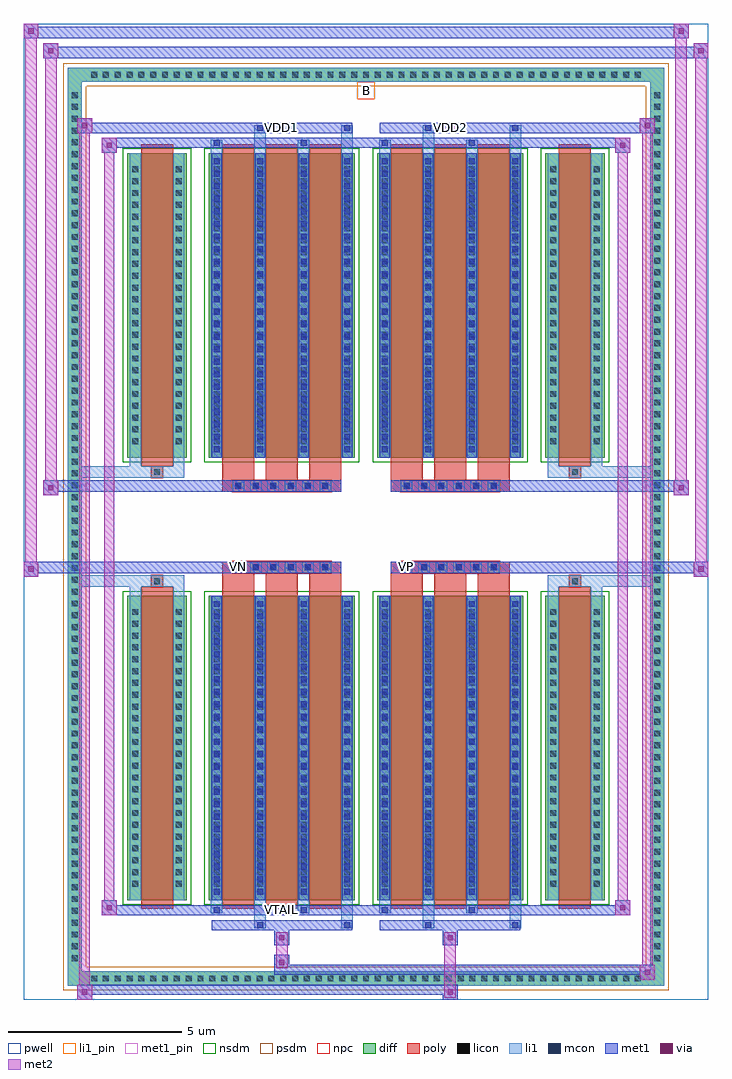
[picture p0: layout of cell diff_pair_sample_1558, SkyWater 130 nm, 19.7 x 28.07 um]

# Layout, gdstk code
import gdstk
lib = gdstk.Library(unit=1e-6, precision=5e-09)
def R(c, l, rs):  # rectangles x0, y0, x1, y1
    for r in rs: c.add(gdstk.rectangle(r[:2], r[2:], *l))
def A(c, l, x, y, w, h, nx, ny, dx, dy):  # array of equal rectangles
    R(c, l, [(x+i*dx, y+j*dy, x+i*dx+w, y+j*dy+h) for i in range(nx) for j in range(ny)])
def P(c, l, *ps):  # polygons
    for p in ps: c.add(gdstk.Polygon(p, *l))
pwell = (64, 44)
diff = (65, 20)
poly = (66, 20)
licon = (66, 44)
li1_pin = (67, 16)
li1 = (67, 20)
mcon = (67, 44)
met1_pin = (68, 16)
met1 = (68, 20)
via = (68, 44)
met2 = (69, 20)
nsdm = (93, 44)
psdm = (94, 20)
npc = (95, 20)

diff_pair_sample_1558 = lib.new_cell('diff_pair_sample_1558')
R(diff_pair_sample_1558, pwell, [(-9.85,-13.6,9.85,14.47), (-7.17,-11.79,-0.01,-0.805), (0.01,-11.79,7.17,-0.805), (-7.17,0.805,-0.01,11.79), (0.01,0.805,7.17,11.79)])
A(diff_pair_sample_1558, diff, -8.025, -13.2, 0.41, 0.41, 47, 2, 0.34, 25.99)
A(diff_pair_sample_1558, diff, -8.58, -12.615, 0.41, 0.41, 1, 74, 0, 0.34)
A(diff_pair_sample_1558, diff, 8.17, -12.615, 0.41, 0.41, 1, 74, 0, 0.34)
R(diff_pair_sample_1558, diff, [(-8.025,-13.2,8.025,-12.79), (-8.58,-12.615,-8.17,12.615), (8.17,-12.615,8.58,12.615), (-6.86,-10.745,-5.16,-1.985), (-4.52,-10.745,-0.32,-1.985), (0.32,-10.745,4.52,-1.985), (5.16,-10.745,6.86,-1.985), (-6.86,1.985,-5.16,10.745), (-4.52,1.985,-0.32,10.745), (0.32,1.985,4.52,10.745), (5.16,1.985,6.86,10.745), (-8.025,12.79,8.025,13.2)])
P(diff_pair_sample_1558, diff, [(8.58,13.2),(-8.58,13.2),(-8.58,-12.79),(-8.17,-12.79),(-8.17,12.79),(8.17,12.79),(8.17,-12.79),(-8.17,-12.79),(-8.58,-12.79),(-8.58,-13.2),(8.58,-13.2)])
A(diff_pair_sample_1558, poly, -4.13, -10.995, 0.92, 9.26, 3, 2, 1.25, 12.73)
A(diff_pair_sample_1558, poly, 0.71, -10.995, 0.92, 9.26, 3, 2, 1.25, 12.73)
A(diff_pair_sample_1558, poly, -4.13, -1.735, 0.92, 0.4, 3, 2, 1.25, 3.07)
A(diff_pair_sample_1558, poly, 0.71, -1.735, 0.92, 0.4, 3, 2, 1.25, 3.07)
A(diff_pair_sample_1558, poly, -3.835, -1.335, 0.33, 0.33, 6, 2, 0.5, 2.34)
A(diff_pair_sample_1558, poly, 1.005, -1.335, 0.33, 0.33, 6, 2, 0.5, 2.34)
R(diff_pair_sample_1558, poly, [(-6.47,-10.995,-5.55,-1.735), (5.55,-10.995,6.47,-1.735), (-6.175,-1.735,-5.845,-1.405), (-6.175,-1.735,-5.845,-1.405), (5.845,-1.735,6.175,-1.405), (5.845,-1.735,6.175,-1.405), (-4.13,-1.335,-0.71,-1.005), (0.71,-1.335,4.13,-1.005), (-4.13,1.005,-0.71,1.335), (0.71,1.005,4.13,1.335), (-6.175,1.405,-5.845,1.735), (-6.175,1.405,-5.845,1.735), (5.845,1.405,6.175,1.735), (5.845,1.405,6.175,1.735), (-6.47,1.735,-5.55,10.995), (5.55,1.735,6.47,10.995)])
A(diff_pair_sample_1558, licon, -7.905, -13.08, 0.17, 0.17, 47, 2, 0.34, 25.99)
A(diff_pair_sample_1558, licon, -8.46, -12.495, 0.17, 0.17, 1, 74, 0, 0.34)
A(diff_pair_sample_1558, licon, 8.29, -12.495, 0.17, 0.17, 1, 74, 0, 0.34)
A(diff_pair_sample_1558, licon, -6.72, -10.36, 0.17, 0.17, 1, 24, 0, 0.34)
A(diff_pair_sample_1558, licon, -5.47, -10.36, 0.17, 0.17, 1, 24, 0, 0.34)
A(diff_pair_sample_1558, licon, -4.38, -10.36, 0.17, 0.17, 4, 24, 1.25, 0.34)
A(diff_pair_sample_1558, licon, 0.46, -10.36, 0.17, 0.17, 4, 24, 1.25, 0.34)
A(diff_pair_sample_1558, licon, 5.3, -10.36, 0.17, 0.17, 1, 24, 0, 0.34)
A(diff_pair_sample_1558, licon, 6.55, -10.36, 0.17, 0.17, 1, 24, 0, 0.34)
A(diff_pair_sample_1558, licon, -3.755, -1.255, 0.17, 0.17, 6, 2, 0.5, 2.34)
A(diff_pair_sample_1558, licon, 1.085, -1.255, 0.17, 0.17, 6, 2, 0.5, 2.34)
A(diff_pair_sample_1558, licon, -6.72, 2.37, 0.17, 0.17, 1, 24, 0, 0.34)
A(diff_pair_sample_1558, licon, -5.47, 2.37, 0.17, 0.17, 1, 24, 0, 0.34)
A(diff_pair_sample_1558, licon, -4.38, 2.37, 0.17, 0.17, 4, 24, 1.25, 0.34)
A(diff_pair_sample_1558, licon, 0.46, 2.37, 0.17, 0.17, 4, 24, 1.25, 0.34)
A(diff_pair_sample_1558, licon, 5.3, 2.37, 0.17, 0.17, 1, 24, 0, 0.34)
A(diff_pair_sample_1558, licon, 6.55, 2.37, 0.17, 0.17, 1, 24, 0, 0.34)
R(diff_pair_sample_1558, licon, [(-6.095,-1.655,-5.925,-1.485), (5.925,-1.655,6.095,-1.485), (-6.095,1.485,-5.925,1.655), (5.925,1.485,6.095,1.655)])
R(diff_pair_sample_1558, li1_pin, [(-0.25,12.29,0.25,12.79)])
A(diff_pair_sample_1558, li1, -7.985, -13.16, 0.33, 0.33, 47, 2, 0.34, 25.99)
A(diff_pair_sample_1558, li1, -8.54, -12.575, 0.33, 0.33, 1, 74, 0, 0.34)
A(diff_pair_sample_1558, li1, 8.21, -12.575, 0.33, 0.33, 1, 74, 0, 0.34)
A(diff_pair_sample_1558, li1, -4.46, -10.745, 0.33, 8.76, 4, 2, 1.25, 12.73)
A(diff_pair_sample_1558, li1, 0.38, -10.745, 0.33, 8.76, 4, 2, 1.25, 12.73)
A(diff_pair_sample_1558, li1, -4.38, -10.59, 0.17, 0.17, 4, 24, 1.25, 0.36)
A(diff_pair_sample_1558, li1, -4.38, -10.59, 0.17, 8.45, 4, 2, 1.25, 12.73)
A(diff_pair_sample_1558, li1, 0.46, -10.59, 0.17, 0.17, 4, 24, 1.25, 0.36)
A(diff_pair_sample_1558, li1, 0.46, -10.59, 0.17, 8.45, 4, 2, 1.25, 12.73)
A(diff_pair_sample_1558, li1, -6.8, -10.44, 0.33, 0.33, 1, 24, 0, 0.34)
A(diff_pair_sample_1558, li1, -5.55, -10.44, 0.33, 0.33, 1, 24, 0, 0.34)
A(diff_pair_sample_1558, li1, -4.46, -10.44, 0.33, 0.33, 4, 24, 1.25, 0.34)
A(diff_pair_sample_1558, li1, 0.38, -10.44, 0.33, 0.33, 4, 24, 1.25, 0.34)
A(diff_pair_sample_1558, li1, 5.22, -10.44, 0.33, 0.33, 1, 24, 0, 0.34)
A(diff_pair_sample_1558, li1, 6.47, -10.44, 0.33, 0.33, 1, 24, 0, 0.34)
A(diff_pair_sample_1558, li1, -3.835, -1.335, 0.33, 0.33, 6, 2, 0.5, 2.34)
A(diff_pair_sample_1558, li1, 1.005, -1.335, 0.33, 0.33, 6, 2, 0.5, 2.34)
A(diff_pair_sample_1558, li1, -4.38, 2.14, 0.17, 0.17, 4, 24, 1.25, 0.36)
A(diff_pair_sample_1558, li1, 0.46, 2.14, 0.17, 0.17, 4, 24, 1.25, 0.36)
A(diff_pair_sample_1558, li1, -6.8, 2.29, 0.33, 0.33, 1, 24, 0, 0.34)
A(diff_pair_sample_1558, li1, -5.55, 2.29, 0.33, 0.33, 1, 24, 0, 0.34)
A(diff_pair_sample_1558, li1, -4.46, 2.29, 0.33, 0.33, 4, 24, 1.25, 0.34)
A(diff_pair_sample_1558, li1, 0.38, 2.29, 0.33, 0.33, 4, 24, 1.25, 0.34)
A(diff_pair_sample_1558, li1, 5.22, 2.29, 0.33, 0.33, 1, 24, 0, 0.34)
A(diff_pair_sample_1558, li1, 6.47, 2.29, 0.33, 0.33, 1, 24, 0, 0.34)
R(diff_pair_sample_1558, li1, [(-8.58,-13.2,-8.17,-12.79), (-8.58,-13.2,-8.17,-12.79), (-8.17,-13.2,8.17,-12.79), (8.17,-13.2,8.58,-12.79), (8.17,-13.2,8.58,-12.79), (-8.58,-12.79,-8.17,12.79), (8.17,-12.79,8.58,12.79), (-3.21,-11.55,-2.88,-10.745), (-3.13,-11.55,-2.96,-11.38), (-0.71,-11.55,-0.38,-10.745), (-0.63,-11.55,-0.46,-11.38), (1.63,-11.55,1.96,-10.745), (1.71,-11.55,1.88,-11.38), (4.13,-11.55,4.46,-10.745), (4.21,-11.55,4.38,-11.38), (-4.46,-11.12,-4.13,-10.745), (-4.38,-11.12,-4.21,-10.95), (-1.96,-11.12,-1.63,-10.745), (-1.88,-11.12,-1.71,-10.95), (0.38,-11.12,0.71,-10.745), (0.46,-11.12,0.63,-10.95), (2.88,-11.12,3.21,-10.745), (2.96,-11.12,3.13,-10.95), (-6.8,-10.745,-6.47,-1.985), (-5.55,-10.745,-5.22,-1.985), (5.22,-10.745,5.55,-1.985), (6.47,-10.745,6.8,-1.985), (-6.8,-1.985,-6.47,-1.405), (-5.55,-1.985,-5.22,-1.405), (5.22,-1.985,5.55,-1.405), (6.47,-1.985,6.8,-1.405), (-8.58,-1.735,-6.175,-1.405), (-6.8,-1.735,-6.175,-1.405), (-6.175,-1.735,-5.845,-1.405), (-5.845,-1.735,-5.22,-1.405), (5.22,-1.735,5.845,-1.405), (5.845,-1.735,6.175,-1.405), (5.845,-1.735,8.58,-1.405), (6.175,-1.735,6.8,-1.405), (-8.58,1.405,-6.175,1.735), (-6.8,1.405,-6.175,1.735), (-6.8,1.405,-6.47,1.985), (-6.175,1.405,-5.845,1.735), (-5.845,1.405,-5.22,1.735), (-5.55,1.405,-5.22,1.985), (5.22,1.405,5.845,1.735), (5.22,1.405,5.55,1.985), (5.845,1.405,6.175,1.735), (5.845,1.405,8.58,1.735), (6.175,1.405,6.8,1.735), (6.47,1.405,6.8,1.985), (-6.8,1.985,-6.47,10.745), (-5.55,1.985,-5.22,10.745), (5.22,1.985,5.55,10.745), (6.47,1.985,6.8,10.745), (-4.46,10.745,-4.13,11.12), (-3.21,10.745,-2.88,11.55), (-1.96,10.745,-1.63,11.12), (-0.71,10.745,-0.38,11.55), (0.38,10.745,0.71,11.12), (1.63,10.745,1.96,11.55), (2.88,10.745,3.21,11.12), (4.13,10.745,4.46,11.55), (-4.38,10.95,-4.21,11.12), (-1.88,10.95,-1.71,11.12), (0.46,10.95,0.63,11.12), (2.96,10.95,3.13,11.12), (-3.13,11.38,-2.96,11.55), (-0.63,11.38,-0.46,11.55), (1.71,11.38,1.88,11.55), (4.21,11.38,4.38,11.55), (-8.58,12.79,-8.17,13.2), (-8.58,12.79,-8.17,13.2), (-8.17,12.79,8.17,13.2), (8.17,12.79,8.58,13.2), (8.17,12.79,8.58,13.2)])
A(diff_pair_sample_1558, mcon, -4.38, -10.59, 0.17, 0.17, 4, 24, 1.25, 0.36)
A(diff_pair_sample_1558, mcon, 0.46, -10.59, 0.17, 0.17, 4, 24, 1.25, 0.36)
A(diff_pair_sample_1558, mcon, -3.755, -1.255, 0.17, 0.17, 6, 2, 0.5, 2.34)
A(diff_pair_sample_1558, mcon, 1.085, -1.255, 0.17, 0.17, 6, 2, 0.5, 2.34)
A(diff_pair_sample_1558, mcon, -4.38, 2.14, 0.17, 0.17, 4, 24, 1.25, 0.36)
A(diff_pair_sample_1558, mcon, 0.46, 2.14, 0.17, 0.17, 4, 24, 1.25, 0.36)
R(diff_pair_sample_1558, mcon, [(-3.13,-11.55,-2.96,-11.38), (-0.63,-11.55,-0.46,-11.38), (1.71,-11.55,1.88,-11.38), (4.21,-11.55,4.38,-11.38), (-4.38,-11.12,-4.21,-10.95), (-1.88,-11.12,-1.71,-10.95), (0.46,-11.12,0.63,-10.95), (2.96,-11.12,3.13,-10.95), (-4.38,10.95,-4.21,11.12), (-1.88,10.95,-1.71,11.12), (0.46,10.95,0.63,11.12), (2.96,10.95,3.13,11.12), (-3.13,11.38,-2.96,11.55), (-0.63,11.38,-0.46,11.55), (1.71,11.38,1.88,11.55), (4.21,11.38,4.38,11.55)])
R(diff_pair_sample_1558, met1_pin, [(-2.555,-11.16,-2.285,-10.89), (-3.805,-1.295,-3.535,-1.025), (1.035,-1.295,1.305,-1.025), (-2.555,11.34,-2.285,11.61), (2.285,11.34,2.555,11.61)])
A(diff_pair_sample_1558, met1, -4.44, -10.745, 0.29, 8.76, 4, 2, 1.25, 12.73)
A(diff_pair_sample_1558, met1, 0.4, -10.745, 0.29, 8.76, 4, 2, 1.25, 12.73)
A(diff_pair_sample_1558, met1, -4.44, -10.65, 0.29, 0.29, 4, 24, 1.25, 0.36)
A(diff_pair_sample_1558, met1, 0.4, -10.65, 0.29, 0.29, 4, 24, 1.25, 0.36)
A(diff_pair_sample_1558, met1, -3.815, -1.315, 0.29, 0.29, 6, 2, 0.5, 2.34)
A(diff_pair_sample_1558, met1, 1.025, -1.315, 0.29, 0.29, 6, 2, 0.5, 2.34)
A(diff_pair_sample_1558, met1, -4.44, 2.08, 0.29, 0.29, 4, 24, 1.25, 0.36)
A(diff_pair_sample_1558, met1, 0.4, 2.08, 0.29, 0.29, 4, 24, 1.25, 0.36)
R(diff_pair_sample_1558, met1, [(-8.31,-13.6,-7.88,-13.17), (2.205,-13.6,2.635,-13.17), (-8.31,-13.46,2.635,-13.17), (7.88,-13.03,8.31,-12.6), (-2.635,-12.89,8.31,-12.6), (-2.635,-12.75,-2.205,-12.32), (-2.635,-12.04,-2.205,-11.61), (2.205,-12.04,2.635,-11.61), (-4.44,-11.61,-0.4,-11.32), (-3.19,-11.61,-2.9,-11.32), (-0.69,-11.61,-0.4,-11.32), (0.4,-11.61,4.44,-11.32), (1.65,-11.61,1.94,-11.32), (4.15,-11.61,4.44,-11.32), (-7.6,-11.18,-7.17,-10.75), (-7.6,-11.18,-4.44,-10.89), (-4.44,-11.18,-4.15,-10.89), (-4.44,-11.18,-0.4,-10.89), (-1.94,-11.18,-1.65,-10.89), (-0.4,-11.18,0.4,-10.89), (0.4,-11.18,0.69,-10.89), (0.4,-11.18,4.44,-10.89), (2.9,-11.18,3.19,-10.89), (4.44,-11.18,7.6,-10.89), (7.17,-11.18,7.6,-10.75), (-9.85,-1.435,-9.42,-1.005), (9.42,-1.435,9.85,-1.005), (-9.85,-1.335,-0.71,-1.005), (-4.13,-1.335,-0.71,-1.005), (0.71,-1.335,4.13,-1.005), (0.71,-1.335,9.85,-1.005), (-9.28,0.905,-8.85,1.335), (8.85,0.905,9.28,1.335), (-9.28,1.005,-4.13,1.335), (-4.13,1.005,-0.71,1.335), (0.71,1.005,4.13,1.335), (4.13,1.005,9.28,1.335), (-7.6,10.75,-7.17,11.18), (7.17,10.75,7.6,11.18), (-7.6,10.89,-4.44,11.18), (-4.44,10.89,-4.15,11.18), (-4.44,10.89,-0.4,11.18), (-1.94,10.89,-1.65,11.18), (-0.4,10.89,0.4,11.18), (0.4,10.89,0.69,11.18), (0.4,10.89,4.44,11.18), (2.9,10.89,3.19,11.18), (4.44,10.89,7.6,11.18), (-8.31,11.32,-7.88,11.75), (-8.31,11.32,-4.44,11.61), (-4.44,11.32,-0.4,11.61), (-3.19,11.32,-2.9,11.61), (-0.69,11.32,-0.4,11.61), (0.4,11.32,4.44,11.61), (1.65,11.32,1.94,11.61), (4.15,11.32,4.44,11.61), (4.44,11.32,8.31,11.61), (7.88,11.32,8.31,11.75), (-9.28,13.47,-8.85,13.9), (-9.28,13.47,-7.17,13.8), (-7.17,13.47,7.17,13.8), (7.17,13.47,9.85,13.8), (9.42,13.47,9.85,13.9), (-9.85,14.04,-9.42,14.47), (-9.85,14.04,-7.17,14.37), (-7.17,14.04,7.17,14.37), (7.17,14.04,9.28,14.37), (8.85,14.04,9.28,14.47)])
R(diff_pair_sample_1558, via, [(-8.17,-13.46,-8.02,-13.31), (2.345,-13.46,2.495,-13.31), (8.02,-12.89,8.17,-12.74), (-2.495,-12.61,-2.345,-12.46), (-2.495,-11.9,-2.345,-11.75), (2.345,-11.9,2.495,-11.75), (-7.46,-11.04,-7.31,-10.89), (7.31,-11.04,7.46,-10.89), (-9.71,-1.295,-9.56,-1.145), (9.56,-1.295,9.71,-1.145), (-9.14,1.045,-8.99,1.195), (8.99,1.045,9.14,1.195), (-7.46,10.89,-7.31,11.04), (7.31,10.89,7.46,11.04), (-8.17,11.46,-8.02,11.61), (8.02,11.46,8.17,11.61), (-9.14,13.61,-8.99,13.76), (9.56,13.61,9.71,13.76), (-9.71,14.18,-9.56,14.33), (8.99,14.18,9.14,14.33)])
R(diff_pair_sample_1558, met2, [(-8.31,-13.6,-7.88,-13.17), (-8.24,-13.6,-7.95,11.75), (-7.95,-13.6,-7.88,-13.17), (-8.26,-13.55,-7.93,-13.22), (2.255,-13.55,2.585,-13.22), (2.255,-13.22,2.585,-11.99), (7.88,-13.03,8.31,-12.6), (7.95,-13.03,8.24,11.75), (8.24,-13.03,8.31,-12.6), (7.93,-12.98,8.26,-12.65), (-2.585,-12.7,-2.255,-12.37), (-2.585,-12.37,-2.255,-11.99), (-2.585,-11.99,-2.255,-11.66), (2.255,-11.99,2.585,-11.66), (-7.6,-11.18,-7.17,-10.75), (-7.53,-11.18,-7.24,11.18), (-7.24,-11.18,-7.17,-10.75), (7.17,-11.18,7.6,-10.75), (7.24,-11.18,7.53,11.18), (7.53,-11.18,7.6,-10.75), (-7.55,-11.13,-7.22,-10.8), (7.22,-11.13,7.55,-10.8), (-9.85,-1.435,-9.42,-1.005), (-9.8,-1.435,-9.47,14.47), (-9.47,-1.435,-9.42,-1.005), (9.42,-1.435,9.85,-1.005), (9.47,-1.435,9.8,13.9), (9.8,-1.435,9.85,-1.005), (-9.8,-1.385,-9.47,-1.055), (9.47,-1.385,9.8,-1.055), (-9.28,0.905,-8.85,1.335), (-9.23,0.905,-8.9,13.9), (-8.9,0.905,-8.85,1.335), (8.85,0.905,9.28,1.335), (8.9,0.905,9.23,14.47), (9.23,0.905,9.28,1.335), (-9.23,0.955,-8.9,1.285), (8.9,0.955,9.23,1.285), (-7.6,10.75,-7.17,11.18), (-7.24,10.75,-7.17,11.18), (7.17,10.75,7.6,11.18), (7.53,10.75,7.6,11.18), (-7.55,10.8,-7.22,11.13), (7.22,10.8,7.55,11.13), (-8.31,11.32,-7.88,11.75), (-7.95,11.32,-7.88,11.75), (7.88,11.32,8.31,11.75), (8.24,11.32,8.31,11.75), (-8.26,11.37,-7.93,11.7), (7.93,11.37,8.26,11.7), (-9.28,13.47,-8.85,13.9), (-8.9,13.47,-8.85,13.9), (9.42,13.47,9.85,13.9), (9.8,13.47,9.85,13.9), (-9.23,13.52,-8.9,13.85), (9.47,13.52,9.8,13.85), (-9.85,14.04,-9.42,14.47), (-9.47,14.04,-9.42,14.47), (8.85,14.04,9.28,14.47), (9.23,14.04,9.28,14.47), (-9.8,14.09,-9.47,14.42), (8.9,14.09,9.23,14.42)])
R(diff_pair_sample_1558, nsdm, [(-6.99,-10.875,-5.03,-1.855), (-4.65,-10.875,-0.19,-1.855), (0.19,-10.875,4.65,-1.855), (5.03,-10.875,6.99,-1.855), (-6.99,1.855,-5.03,10.875), (-4.65,1.855,-0.19,10.875), (0.19,1.855,4.65,10.875), (5.03,1.855,6.99,10.875)])
P(diff_pair_sample_1558, psdm, [(8.71,13.33),(-8.71,13.33),(-8.71,-12.66),(-8.04,-12.66),(-8.04,12.66),(8.04,12.66),(8.04,-12.66),(-8.04,-12.66),(-8.71,-12.66),(-8.71,-13.33),(8.71,-13.33)])
A(diff_pair_sample_1558, npc, -3.855, -1.355, 0.37, 0.37, 6, 2, 0.5, 2.34)
A(diff_pair_sample_1558, npc, 0.985, -1.355, 0.37, 0.37, 6, 2, 0.5, 2.34)
R(diff_pair_sample_1558, npc, [(-6.195,-1.755,-5.825,-1.385), (5.825,-1.755,6.195,-1.385), (-3.855,-1.355,-2.985,-0.985), (-3.855,-1.355,-2.985,-0.985), (-3.355,-1.355,-2.485,-0.985), (-3.355,-1.355,-2.485,-0.985), (-2.855,-1.355,-1.985,-0.985), (-2.855,-1.355,-1.985,-0.985), (-2.355,-1.355,-1.485,-0.985), (-2.355,-1.355,-1.485,-0.985), (-1.855,-1.355,-0.985,-0.985), (-1.855,-1.355,-0.985,-0.985), (0.985,-1.355,1.855,-0.985), (0.985,-1.355,1.855,-0.985), (1.485,-1.355,2.355,-0.985), (1.485,-1.355,2.355,-0.985), (1.985,-1.355,2.855,-0.985), (1.985,-1.355,2.855,-0.985), (2.485,-1.355,3.355,-0.985), (2.485,-1.355,3.355,-0.985), (2.985,-1.355,3.855,-0.985), (2.985,-1.355,3.855,-0.985), (-3.855,0.985,-2.985,1.355), (-3.855,0.985,-2.985,1.355), (-3.355,0.985,-2.485,1.355), (-3.355,0.985,-2.485,1.355), (-2.855,0.985,-1.985,1.355), (-2.855,0.985,-1.985,1.355), (-2.355,0.985,-1.485,1.355), (-2.355,0.985,-1.485,1.355), (-1.855,0.985,-0.985,1.355), (-1.855,0.985,-0.985,1.355), (0.985,0.985,1.855,1.355), (0.985,0.985,1.855,1.355), (1.485,0.985,2.355,1.355), (1.485,0.985,2.355,1.355), (1.985,0.985,2.855,1.355), (1.985,0.985,2.855,1.355), (2.485,0.985,3.355,1.355), (2.485,0.985,3.355,1.355), (2.985,0.985,3.855,1.355), (2.985,0.985,3.855,1.355), (-6.195,1.385,-5.825,1.755), (5.825,1.385,6.195,1.755)])
diff_pair_sample_1558.add(gdstk.Label('VTAIL', (-2.42,-11.025), layer=68, texttype=5))
diff_pair_sample_1558.add(gdstk.Label('VN', (-3.67,-1.16), layer=68, texttype=5))
diff_pair_sample_1558.add(gdstk.Label('VP', (1.17,-1.16), layer=68, texttype=5))
diff_pair_sample_1558.add(gdstk.Label('B', (0,12.54), layer=67, texttype=5))
diff_pair_sample_1558.add(gdstk.Label('VDD2', (2.42,11.475), layer=68, texttype=5))
diff_pair_sample_1558.add(gdstk.Label('VDD1', (-2.42,11.475), layer=68, texttype=5))

lib.write_gds('diff_pair_sample_1558.gds')
